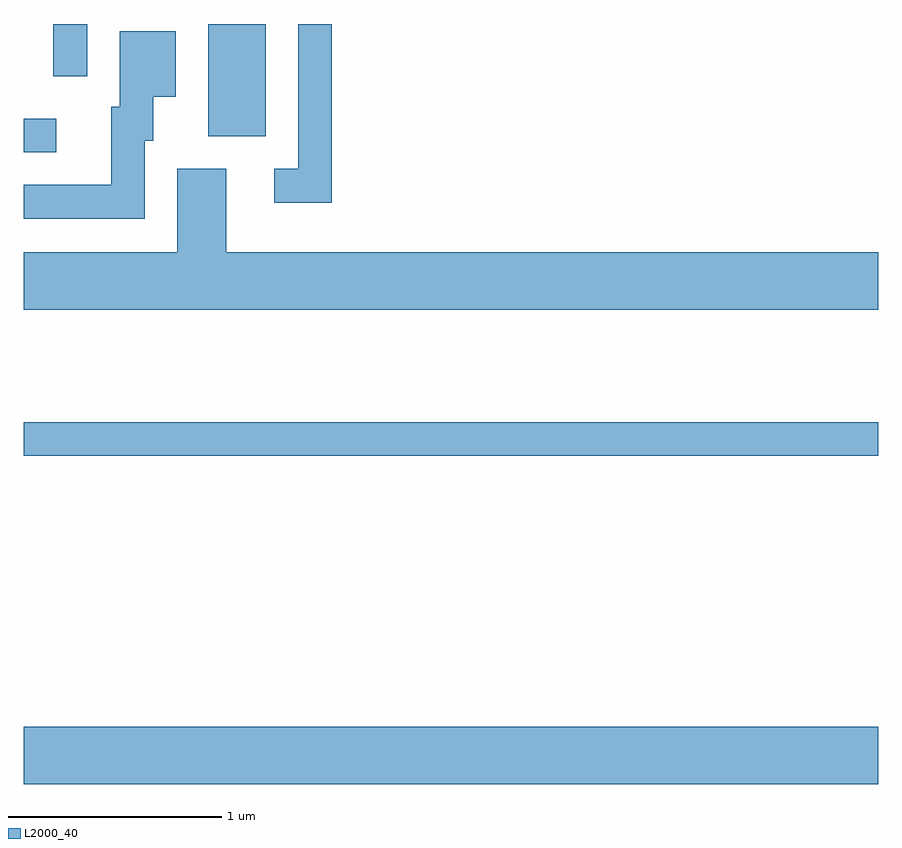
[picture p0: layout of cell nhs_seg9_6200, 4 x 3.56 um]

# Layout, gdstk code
import gdstk
lib = gdstk.Library(unit=1e-6, precision=1e-09)
def R(c, l, rs):  # rectangles x0, y0, x1, y1
    for r in rs: c.add(gdstk.rectangle(r[:2], r[2:], *l))
def P(c, l, *ps):  # polygons
    for p in ps: c.add(gdstk.Polygon(p, *l))
L2000_40 = (2000, 40)

nhs_seg9_6200 = lib.new_cell('nhs_seg9_6200')
R(nhs_seg9_6200, L2000_40, [(367.611,2042.876,371.611,2043.144), (367.611,2044.411,371.611,2044.569), (367.611,2045.831,367.763,2045.989), (368.476,2045.906,368.744,2046.432), (367.751,2046.188,367.909,2046.432)])
P(nhs_seg9_6200, L2000_40, [(369.054,2046.432),(368.896,2046.432),(368.896,2045.754),(368.783,2045.754),(368.783,2045.596),(369.054,2045.596)],
  [(368.179,2045.886),(368.219,2045.886),(368.219,2046.091),(368.324,2046.091),(368.324,2046.399),(368.061,2046.399),(368.061,2046.044),(368.021,2046.044),(368.021,2045.679),(367.611,2045.679),(367.611,2045.521),(368.179,2045.521)],
  [(371.611,2045.364),(368.559,2045.364),(368.559,2045.754),(368.331,2045.754),(368.331,2045.364),(367.611,2045.364),(367.611,2045.096),(371.611,2045.096)])

lib.write_gds('nhs_seg9_6200.gds')
